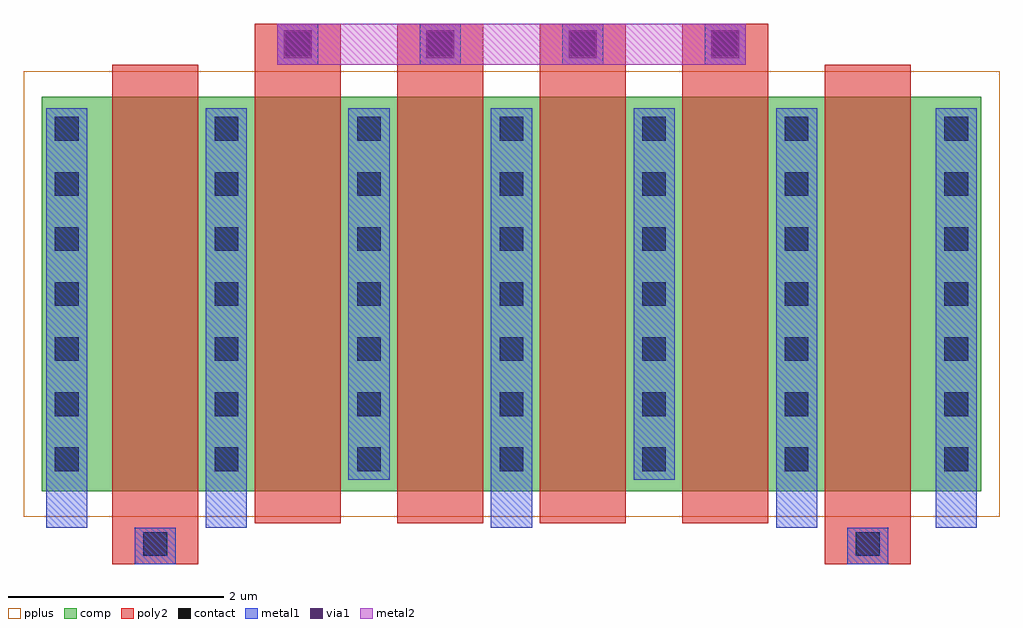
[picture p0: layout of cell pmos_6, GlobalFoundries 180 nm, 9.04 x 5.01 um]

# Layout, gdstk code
import gdstk
lib = gdstk.Library(unit=1e-6, precision=5e-09)
def R(c, l, rs):  # rectangles x0, y0, x1, y1
    for r in rs: c.add(gdstk.rectangle(r[:2], r[2:], *l))
def A(c, l, x, y, w, h, nx, ny, dx, dy):  # array of equal rectangles
    R(c, l, [(x+i*dx, y+j*dy, x+i*dx+w, y+j*dy+h) for i in range(nx) for j in range(ny)])
comp = (22, 0)
poly2 = (30, 0)
pplus = (31, 0)
contact = (33, 0)
metal1 = (34, 0)
via1 = (35, 0)
metal2 = (36, 0)

pmos_6 = lib.new_cell('pmos_6')
R(pmos_6, comp, [(0.455,0.68,0.915,4.33), (0.915,0.68,8.695,4.33), (8.695,0.68,9.155,4.33)])
A(pmos_6, poly2, 1.105, 0.38, 0.8, 4.25, 6, 1, 1.32, 0)
A(pmos_6, poly2, 2.425, 4.63, 0.8, 0.38, 4, 1, 1.32, 0)
R(pmos_6, poly2, [(1.105,0,1.905,0.38), (7.705,0,8.505,0.38)])
R(pmos_6, pplus, [(0.285,0.44,9.325,4.57)])
A(pmos_6, contact, 0.575, 0.865, 0.22, 0.22, 1, 7, 0, 0.51)
A(pmos_6, contact, 2.055, 0.865, 0.22, 0.22, 5, 7, 1.32, 0.51)
A(pmos_6, contact, 8.815, 0.865, 0.22, 0.22, 1, 7, 0, 0.51)
A(pmos_6, contact, 2.715, 4.71, 0.22, 0.22, 4, 1, 1.32, 0)
R(pmos_6, contact, [(1.395,0.08,1.615,0.3), (7.995,0.08,8.215,0.3)])
A(pmos_6, metal1, 1.975, 0.785, 0.38, 3.44, 5, 1, 1.32, 0)
A(pmos_6, metal1, 2.635, 4.63, 0.38, 0.38, 4, 1, 1.32, 0)
R(pmos_6, metal1, [(1.315,0,1.695,0.34), (7.915,0,8.295,0.34), (0.495,0.785,0.875,4.225), (8.735,0.785,9.115,4.225)])
A(pmos_6, via1, 2.695, 4.69, 0.26, 0.26, 4, 1, 1.32, 0)
pmos_6.add(gdstk.FlexPath([(7.445,0.785),(7.445,0.34)], 0.38, ends="flush", simple_path=True, layer=34, datatype=0))  # metal1
pmos_6.add(gdstk.FlexPath([(8.925,0.785),(8.925,0.34)], 0.38, ends="flush", simple_path=True, layer=34, datatype=0))  # metal1
pmos_6.add(gdstk.FlexPath([(4.805,0.785),(4.805,0.34)], 0.38, ends="flush", simple_path=True, layer=34, datatype=0))  # metal1
pmos_6.add(gdstk.FlexPath([(2.165,0.785),(2.165,0.34)], 0.38, ends="flush", simple_path=True, layer=34, datatype=0))  # metal1
pmos_6.add(gdstk.FlexPath([(0.685,0.785),(0.685,0.34)], 0.38, ends="flush", simple_path=True, layer=34, datatype=0))  # metal1
pmos_6.add(gdstk.FlexPath([(6.975,4.82),(2.635,4.82)], 0.38, ends="flush", simple_path=True, layer=36, datatype=0))  # metal2

lib.write_gds('pmos_6.gds')
